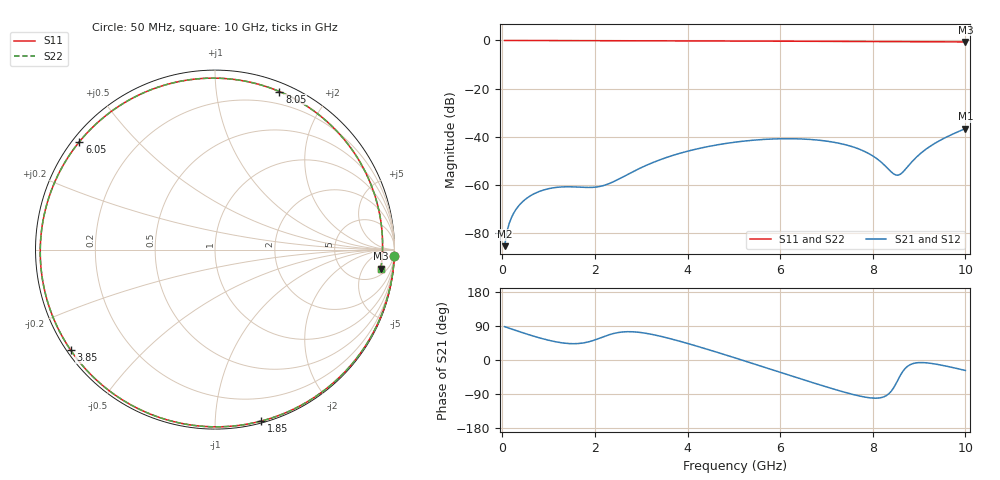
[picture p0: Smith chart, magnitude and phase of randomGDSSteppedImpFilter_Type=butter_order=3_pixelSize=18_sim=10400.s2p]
! freq	dB(S11)	phase(S11)	dB(S12)	phase(S12)
!  dB(S21)	phase(S21)	dB(S22)	phase(S22)
!S-par simulation data
#  GHz  S  DB  R 50
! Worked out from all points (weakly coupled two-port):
!   200 points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, 50 MHz to 10 GHz, reference 50 ohm
!   highest |S21| = -36.57 dB at 10 GHz (marker M1); lowest = -85.4 dB at 50 MHz (marker M2)
!   lowest |S11| = -0.6 dB at 10 GHz (marker M3), VSWR 27.64, Z = 396 - j623 ohm
!   |S11| at or under -10 dB: nowhere
!   |S22| runs from -0.6 to 0.0 dB; largest |S21 - S12| = 0
!   S11 on the Smith chart (normalised r, x): 50 MHz: 0, -54; 1.85 GHz: 0.01, -1.31; 3.85 GHz: 0.01, -0.31; 6.05 GHz: 0.02, +0.35; 8.05 GHz: 0.08, +1.48; 10 GHz: 8, -12
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0.05  -0.00 -2.1  -85.39 87.9  -85.39 87.9  -0.00 -2.1
0.1  -0.00 -4.2  -79.38 85.8  -79.38 85.8  -0.00 -4.2
0.2  -0.01 -8.4  -73.42 81.7  -73.42 81.7  -0.01 -8.4
0.3  -0.02 -12.6  -70.01 77.6  -70.01 77.6  -0.02 -12.6
0.6  -0.03 -25.1  -64.56 65.8  -64.56 65.8  -0.03 -25.1
1.1  -0.06 -45.5  -61.17 49.4  -61.17 49.4  -0.06 -45.5
1.75  -0.09 -71.1  -60.96 45.0  -60.96 45.0  -0.09 -71.1
1.85  -0.09 -74.9  -61.02 47.5  -61.02 47.5  -0.09 -74.9
2.2  -0.11 -88.0  -60.14 62.1  -60.14 62.1  -0.11 -88.0
2.6  -0.12 -102.4  -56.69 74.0  -56.69 74.0  -0.12 -102.4
3.4  -0.16 -130.2  -49.57 63.1  -49.57 63.1  -0.16 -130.2
3.85  -0.18 -145.2  -46.75 48.9  -46.75 48.9  -0.18 -145.2
5.05  -0.24 175.3  -42.16 4.7  -42.16 4.7  -0.24 175.2
6.05  -0.31 141.5  -40.79 -34.4  -40.79 -34.4  -0.30 141.4
6.7  -0.35 118.5  -41.16 -59.7  -41.16 -59.7  -0.35 118.4
7.4  -0.39 92.6  -43.23 -85.4  -43.23 -85.4  -0.39 92.5
8.05  -0.43 67.8  -48.55 -100.7  -48.55 -100.7  -0.43 67.7
8.35  -0.45 56.2  -53.63 -88.7  -53.63 -88.7  -0.45 56.1
8.5  -0.46 50.4  -55.88 -62.7  -55.88 -62.7  -0.46 50.3
8.6  -0.47 46.5  -55.47 -39.5  -55.47 -39.5  -0.47 46.4
9.2  -0.52 23.3  -44.43 -8.0  -44.43 -8.0  -0.52 23.2
10  -0.63 -6.6  -36.57 -27.6  -36.57 -27.6  -0.63 -6.7
